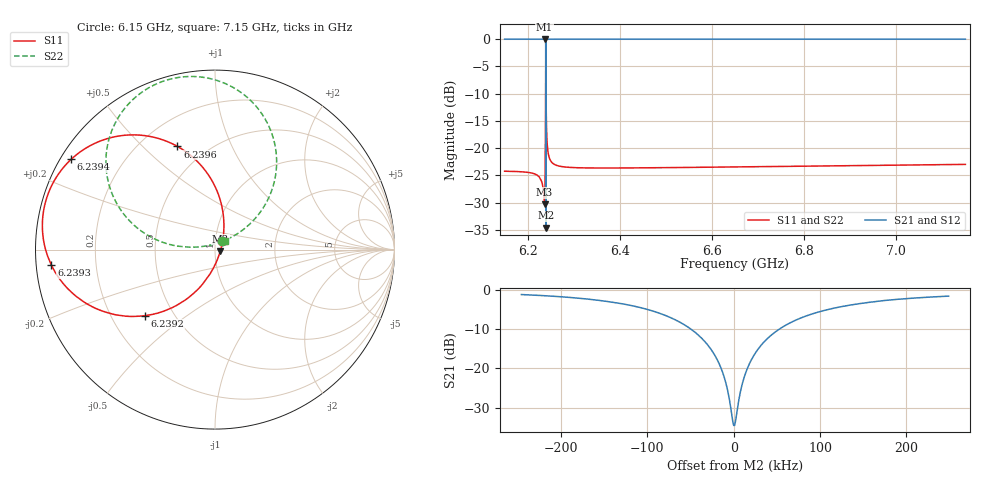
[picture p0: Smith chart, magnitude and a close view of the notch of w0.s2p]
! Sonnet Data File
! From: em Version : 14.52
! From Project: w0
! Data is De-embedded
! Data File Written: 07/15/2018 02:43:21
!< HDATE 07/13/2018 23:43:24
!< MDATE 07/14/2018 22:15:24
# GHZ S MA R 50.00000
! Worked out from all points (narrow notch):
!   974 points, 6.15 GHz to 7.15 GHz, reference 50 ohm
!   highest |S21| = 0.00 dB at 6.2366 GHz (marker M1); lowest = -34.6 dB at 6.2394 GHz (marker M2)
!   notch at M2: 34.3 dB deep, 41.6 kHz wide at half that depth
!   lowest |S11| = -30.3 dB at 6.2366 GHz (marker M3), VSWR 1.06, Z = 53.1 - j0.734 ohm
!   |S11| at or under -10 dB: start of sweep to 6.239 GHz; 6.2399 GHz to end of sweep
!   |S22| runs from -30.2 to -0.2 dB; largest |S21 - S12| = 0
!   S11 on the Smith chart (normalised r, x): 6.15 GHz: 1.08, +0.10; 6.2392 GHz: 0.34, -0.36; 6.2393 GHz: 0.04, -0.05; 6.2394 GHz: 0.03, +0.29; 6.2396 GHz: 0.35, +0.64; 7.15 GHz: 1.11, +0.11
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6.15  0.06151 48.0  0.9981 -41.8  0.9981 -41.8  0.06151 48.5
!< P1 F=6.15 Eeff=(5.67106215 -5.1685e-6) Z0=(55.9970626 2.55186e-5) R=0.00797695 C=0.00297289
!< P2 F=6.15 Eeff=(5.67106215 -5.1685e-6) Z0=(55.9970626 2.55186e-5) R=0.00797695 C=0.00297289
6.23  0.05018 38.5  0.9987 -43.1  0.9987 -43.1  0.05018 55.2
6.2366  0.03069 -13.0  0.9995 -45.4  0.9995 -45.4  0.0308 102.3
6.2388  0.1999 -109.3  0.9786 -56.9  0.9786 -56.9  0.2003 174.8
6.23882  0.2083 -110.2  0.9767 -57.4  0.9767 -57.4  0.2087 174.7
6.23917  0.5379 -136.8  0.8351 -78.0  0.8351 -78.0  0.5387 159.2
6.239329  0.9158 -174.6  0.3568 -111.7  0.3568 -111.7  0.9169 125.5
6.239366  0.972 171.7  0.1342 -119.9  0.1342 -119.9  0.9731 112.7
6.239386  0.981 164.0  0.0187 -55.0  0.0187 -55.0  0.9821 105.4
6.239404  0.9751 157.2  0.113 28.9  0.113 28.9  0.9762 99.0
6.23943  0.9461 147.9  0.2668 25.4  0.2668 25.4  0.9472 90.3
6.239491  0.8238 129.6  0.5449 10.0  0.5449 10.0  0.8247 73.4
6.239595  0.6118 110.0  0.783 -7.8  0.783 -7.8  0.6124 55.9
6.2402  0.2368 80.3  0.9709 -31.9  0.9709 -31.9  0.237 36.2
6.2416  0.1271 67.1  0.9918 -38.4  0.9918 -38.4  0.1271 36.2
6.2472  0.08117 55.9  0.9967 -41.2  0.9967 -41.2  0.08118 41.7
6.32  0.06603 48.6  0.9978 -42.7  0.9978 -42.7  0.06603 46.0
6.485  0.06625 46.9  0.9978 -43.9  0.9978 -43.9  0.06626 45.3
6.65  0.06733 45.7  0.9978 -45.0  0.9978 -45.0  0.06735 44.2
6.82  0.06856 44.6  0.9977 -46.2  0.9977 -46.2  0.06858 43.1
6.985  0.0698 43.5  0.9976 -47.3  0.9976 -47.3  0.06981 42.0
7.15  0.07107 42.3  0.9975 -48.4  0.9975 -48.4  0.07107 40.8
